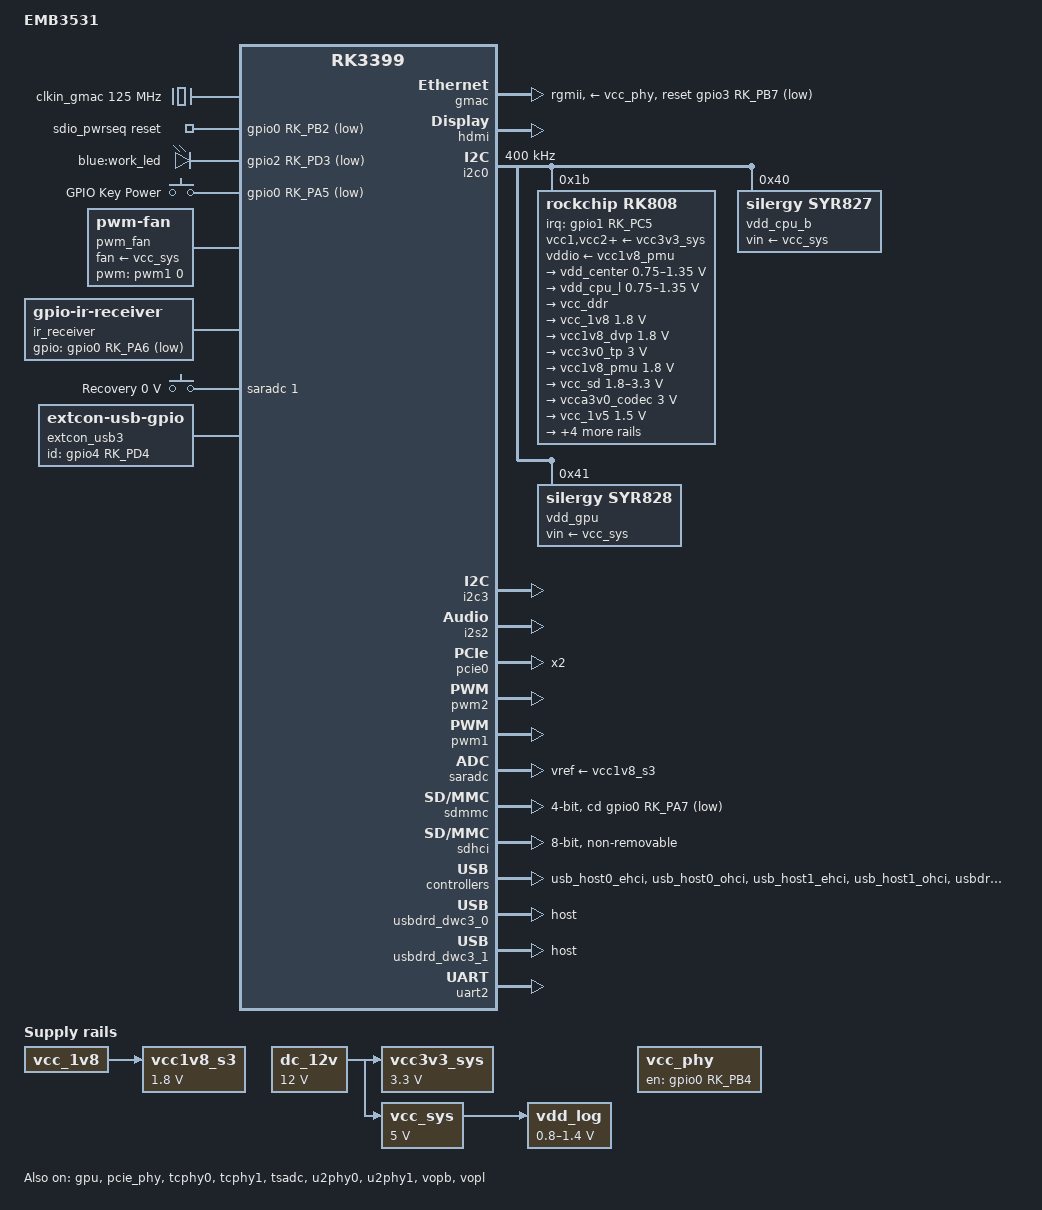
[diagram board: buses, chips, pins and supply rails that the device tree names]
// SPDX-License-Identifier: (GPL-2.0+ OR MIT)

/dts-v1/;
#include <dt-bindings/input/linux-event-codes.h>
#include <dt-bindings/pwm/pwm.h>
#include "rk3399.dtsi"

/ {
	model = "EMB3531";
	compatible = "rockchip,rk3399";

	aliases {
		ethernet0 = &gmac;
		mmc0 = &sdio0;
		mmc1 = &sdmmc;
		mmc2 = &sdhci;
	};

	chosen {
		stdout-path = "serial2:115200n8";
	};

	clkin_gmac: external-gmac-clock {
		compatible = "fixed-clock";
		clock-frequency = <125000000>;
		clock-output-names = "clkin_gmac";
		#clock-cells = <0>;
	};

	dc_12v: regulator-dc-12v {
		compatible = "regulator-fixed";
		regulator-name = "dc_12v";
		regulator-always-on;
		regulator-boot-on;
		regulator-min-microvolt = <12000000>;
		regulator-max-microvolt = <12000000>;
	};

	vcc3v3_sys: regulator-vcc3v3-sys {
		compatible = "regulator-fixed";
		regulator-name = "vcc3v3_sys";
		regulator-always-on;
		regulator-boot-on;
		regulator-min-microvolt = <3300000>;
		regulator-max-microvolt = <3300000>;
		vin-supply = <&dc_12v>;
	};

	vcc_sys: regulator-vcc-sys {
		compatible = "regulator-fixed";
		regulator-name = "vcc_sys";
		regulator-always-on;
		regulator-boot-on;
		regulator-min-microvolt = <5000000>;
		regulator-max-microvolt = <5000000>;
		vin-supply = <&dc_12v>;
	};

	vcc_phy: regulator-vcc-phy {
		compatible = "regulator-fixed";
		enable-active-high;
		gpio = <&gpio0 RK_PB4 GPIO_ACTIVE_HIGH>;
		pinctrl-names = "default";
		pinctrl-0 = <&vcc_phy_h>;
		regulator-name = "vcc_phy";
		regulator-always-on;
		regulator-boot-on;
	};

	vcc1v8_s3: regulator-vcc1v8-s3 {
		compatible = "regulator-fixed";
		regulator-name = "vcc1v8_s3";
		regulator-always-on;
		regulator-boot-on;
		regulator-min-microvolt = <1800000>;
		regulator-max-microvolt = <1800000>;
		vin-supply = <&vcc_1v8>;
	};

	/* PWM regulator for logic voltage */
	vdd_log: regulator-vdd-log {
		compatible = "pwm-regulator";
		pwms = <&pwm2 0 25000 PWM_POLARITY_INVERTED>;
		regulator-name = "vdd_log";
		regulator-always-on;
		regulator-boot-on;
		regulator-min-microvolt = <800000>;
		regulator-max-microvolt = <1400000>;
		vin-supply = <&vcc_sys>;
	};

	sdio_pwrseq: sdio-pwrseq {
		compatible = "mmc-pwrseq-simple";
		clocks = <&rk808 1>;
		clock-names = "ext_clock";
		pinctrl-names = "default";
		pinctrl-0 = <&wifi_reg_on_h>;
		reset-gpios = <&gpio0 RK_PB2 GPIO_ACTIVE_LOW>;
	};

	gpio_leds: gpio-leds {
		compatible = "gpio-leds";
		pinctrl-names = "default";
		pinctrl-0 = <&user_led2_pin>;

		user_led2: led-user {
			label = "blue:work_led";
			gpios = <&gpio2 RK_PD3 GPIO_ACTIVE_LOW>;
			linux,default-trigger = "heartbeat";
		};
	};

	gpio_keys: gpio-keys {
		compatible = "gpio-keys";
		autorepeat;
		pinctrl-names = "default";
		pinctrl-0 = <&power_key_pin>;

		power {
			debounce-interval = <100>;
			gpios = <&gpio0 RK_PA5 GPIO_ACTIVE_LOW>;
			label = "GPIO Key Power";
			linux,code = <KEY_POWER>;
			wakeup-source;
		};
	};

	pwm_fan: pwm-fan {
		compatible = "pwm-fan";
		cooling-levels = <0 150 200 255>;
		#cooling-cells = <2>;
		fan-supply = <&vcc_sys>;
		pwms = <&pwm1 0 40000 0>;
	};

	ir_receiver: ir-receiver {
		compatible = "gpio-ir-receiver";
		gpios = <&gpio0 RK_PA6 GPIO_ACTIVE_LOW>;
		pinctrl-names = "default";
		pinctrl-0 = <&ir_int>;
	};

	adc_keys: adc-keys {
		compatible = "adc-keys";
		io-channels = <&saradc 1>;
		io-channel-names = "buttons";
		keyup-threshold-microvolt = <1750000>;
		poll-interval = <100>;

		recovery {
			label = "Recovery";
			linux,code = <KEY_VENDOR>;
			press-threshold-microvolt = <0>;
		};
	};

	hdmi_sound: hdmi-sound {
		compatible = "simple-audio-card";
		simple-audio-card,format = "i2s";
		simple-audio-card,mclk-fs = <256>;
		simple-audio-card,name = "hdmi-sound";
		status = "okay";

		simple-audio-card,cpu {
			sound-dai = <&i2s2>;
		};

		simple-audio-card,codec {
			sound-dai = <&hdmi>;
		};
	};

	extcon_usb3: extcon-usb3 {
		compatible = "linux,extcon-usb-gpio";
		id-gpio = <&gpio4 RK_PD4 GPIO_ACTIVE_HIGH>;
		pinctrl-names = "default";
		pinctrl-0 = <&usb3_id>;
	};
};

/* GMAC: RGMII with external 125MHz clock input */
&gmac {
	assigned-clocks = <&cru SCLK_RMII_SRC>;
	assigned-clock-parents = <&clkin_gmac>;
	clock_in_out = "input";
	phy-supply = <&vcc_phy>;
	phy-mode = "rgmii";
	pinctrl-names = "default";
	pinctrl-0 = <&rgmii_pins>;
	snps,reset-gpio = <&gpio3 RK_PB7 GPIO_ACTIVE_LOW>;
	snps,reset-active-low;
	snps,reset-delays-us = <0 10000 50000>;
	snps,txpbl = <4>;
	tx_delay = <0x23>;
	rx_delay = <0x23>;
	status = "okay";
};

/* HDMI: DDC via i2c3, CEC pinctrl */
&hdmi {
	ddc-i2c-bus = <&i2c3>;
	pinctrl-names = "default";
	pinctrl-0 = <&hdmi_cec>;
	status = "okay";
};

&hdmi_sound {
	status = "okay";
};

/* i2c0: PMIC RK808, SYR827 (cpu_b), SYR828 (gpu) */
&i2c0 {
	clock-frequency = <400000>;
	i2c-scl-rising-time-ns = <168>;
	i2c-scl-falling-time-ns = <4>;
	status = "okay";

	rk808: pmic@1b {
		compatible = "rockchip,rk808";
		reg = <0x1b>;
		interrupt-parent = <&gpio1>;
		interrupts = <RK_PC5 IRQ_TYPE_LEVEL_LOW>;
		#clock-cells = <1>;
		clock-output-names = "xin32k", "rk808-clkout2";
		pinctrl-names = "default";
		pinctrl-0 = <&pmic_int_l &pmic_dvs2>;
		rockchip,system-power-controller;
		wakeup-source;
		vcc1-supply = <&vcc3v3_sys>;
		vcc2-supply = <&vcc3v3_sys>;
		vcc3-supply = <&vcc3v3_sys>;
		vcc4-supply = <&vcc3v3_sys>;
		vcc6-supply = <&vcc3v3_sys>;
		vcc7-supply = <&vcc3v3_sys>;
		vcc8-supply = <&vcc3v3_sys>;
		vcc9-supply = <&vcc3v3_sys>;
		vcc10-supply = <&vcc3v3_sys>;
		vcc11-supply = <&vcc3v3_sys>;
		vcc12-supply = <&vcc3v3_sys>;
		vddio-supply = <&vcc1v8_pmu>;

		regulators {
			vdd_center: DCDC_REG1 {
				regulator-name = "vdd_center";
				regulator-always-on;
				regulator-boot-on;
				regulator-min-microvolt = <750000>;
				regulator-max-microvolt = <1350000>;
				regulator-ramp-delay = <6001>;
				regulator-state-mem {
					regulator-off-in-suspend;
				};
			};

			vdd_cpu_l: DCDC_REG2 {
				regulator-name = "vdd_cpu_l";
				regulator-always-on;
				regulator-boot-on;
				regulator-min-microvolt = <750000>;
				regulator-max-microvolt = <1350000>;
				regulator-ramp-delay = <6001>;
				regulator-state-mem {
					regulator-off-in-suspend;
				};
			};

			vcc_ddr: DCDC_REG3 {
				regulator-name = "vcc_ddr";
				regulator-always-on;
				regulator-boot-on;
				regulator-state-mem {
					regulator-on-in-suspend;
				};
			};

			vcc_1v8: DCDC_REG4 {
				regulator-name = "vcc_1v8";
				regulator-always-on;
				regulator-boot-on;
				regulator-min-microvolt = <1800000>;
				regulator-max-microvolt = <1800000>;
				regulator-state-mem {
					regulator-on-in-suspend;
					regulator-suspend-microvolt = <1800000>;
				};
			};

			vcc1v8_dvp: LDO_REG1 {
				regulator-name = "vcc1v8_dvp";
				regulator-always-on;
				regulator-boot-on;
				regulator-min-microvolt = <1800000>;
				regulator-max-microvolt = <1800000>;
				regulator-state-mem {
					regulator-off-in-suspend;
				};
			};

			vcc3v0_tp: LDO_REG2 {
				regulator-always-on;
				regulator-boot-on;
				regulator-min-microvolt = <3000000>;
				regulator-max-microvolt = <3000000>;
				regulator-name = "vcc3v0_tp";
				regulator-state-mem {
					regulator-off-in-suspend;
				};
			};

			vcc1v8_pmu: LDO_REG3 {
				regulator-name = "vcc1v8_pmu";
				regulator-always-on;
				regulator-boot-on;
				regulator-min-microvolt = <1800000>;
				regulator-max-microvolt = <1800000>;
				regulator-state-mem {
					regulator-on-in-suspend;
					regulator-suspend-microvolt = <1800000>;
				};
			};

			vcc_sd: LDO_REG4 {
				regulator-name = "vcc_sd";
				regulator-always-on;
				regulator-boot-on;
				regulator-min-microvolt = <1800000>;
				regulator-max-microvolt = <3300000>;
				regulator-state-mem {
					regulator-on-in-suspend;
					regulator-suspend-microvolt = <3300000>;
				};
			};

			vcca3v0_codec: LDO_REG5 {
				regulator-name = "vcca3v0_codec";
				regulator-always-on;
				regulator-boot-on;
				regulator-min-microvolt = <3000000>;
				regulator-max-microvolt = <3000000>;
				regulator-state-mem {
					regulator-off-in-suspend;
				};
			};

			vcc_1v5: LDO_REG6 {
				regulator-name = "vcc_1v5";
				regulator-always-on;
				regulator-boot-on;
				regulator-min-microvolt = <1500000>;
				regulator-max-microvolt = <1500000>;
				regulator-state-mem {
					regulator-on-in-suspend;
					regulator-suspend-microvolt = <1500000>;
				};
			};

			vcca1v8_codec: LDO_REG7 {
				regulator-name = "vcca1v8_codec";
				regulator-always-on;
				regulator-boot-on;
				regulator-min-microvolt = <1800000>;
				regulator-max-microvolt = <1800000>;
				regulator-state-mem {
					regulator-off-in-suspend;
				};
			};

			vcc_3v0: LDO_REG8 {
				regulator-name = "vcc_3v0";
				regulator-always-on;
				regulator-boot-on;
				regulator-min-microvolt = <3000000>;
				regulator-max-microvolt = <3000000>;
				regulator-state-mem {
					regulator-on-in-suspend;
					regulator-suspend-microvolt = <3000000>;
				};
			};

			vcc3v3_s3: SWITCH_REG1 {
				regulator-name = "vcc3v3_s3";
				regulator-always-on;
				regulator-boot-on;
				regulator-state-mem {
					regulator-off-in-suspend;
				};
			};

			vcc3v3_s0: SWITCH_REG2 {
				regulator-name = "vcc3v3_s0";
				regulator-always-on;
				regulator-boot-on;
				regulator-state-mem {
					regulator-off-in-suspend;
				};
			};
		};
	};

	/* CPU-B voltage regulator */
	vdd_cpu_b: regulator@40 {
		compatible = "silergy,syr827";
		reg = <0x40>;
		fcs,suspend-voltage-selector = <1>;
		pinctrl-names = "default";
		pinctrl-0 = <&cpu_b_sleep>;
		regulator-name = "vdd_cpu_b";
		regulator-min-microvolt = <712500>;
		regulator-max-microvolt = <1500000>;
		regulator-ramp-delay = <1000>;
		regulator-always-on;
		regulator-boot-on;
		vin-supply = <&vcc_sys>;
		regulator-state-mem {
			regulator-off-in-suspend;
		};
	};

	/* GPU voltage regulator */
	vdd_gpu: regulator@41 {
		compatible = "silergy,syr828";
		reg = <0x41>;
		fcs,suspend-voltage-selector = <1>;
		pinctrl-names = "default";
		pinctrl-0 = <&gpu_sleep>;
		regulator-name = "vdd_gpu";
		regulator-min-microvolt = <712500>;
		regulator-max-microvolt = <1500000>;
		regulator-ramp-delay = <1000>;
		regulator-always-on;
		regulator-boot-on;
		vin-supply = <&vcc_sys>;
		regulator-state-mem {
			regulator-off-in-suspend;
		};
	};
};

/* i2c3: HDMI DDC */
&i2c3 {
	i2c-scl-rising-time-ns = <450>;
	i2c-scl-falling-time-ns = <15>;
	status = "okay";
};

/* I2S2: HDMI audio */
&i2s2 {
	status = "okay";
};

/* GPU */
&gpu {
	mali-supply = <&vdd_gpu>;
	status = "okay";
};

/* PCIe: 2 lanes, EP reset GPIO4 PD3 */
&pcie0 {
	ep-gpios = <&gpio4 RK_PD3 GPIO_ACTIVE_HIGH>;
	num-lanes = <2>;
	pinctrl-names = "default";
	pinctrl-0 = <&pcie_clkreqn_cpm>;
	status = "okay";
};

&pcie_phy {
	status = "okay";
};

/* PWM2: vdd_log regulator control */
&pwm2 {
	status = "okay";
};

/* PWM1: fan control */
&pwm1 {
	status = "okay";
};

/* SARADC: ADC keys on channel 1 */
&saradc {
	vref-supply = <&vcc1v8_s3>;
	status = "okay";
};

/* SD card (TF card) slot */
&sdmmc {
	bus-width = <4>;
	cap-sd-highspeed;
	cd-gpios = <&gpio0 RK_PA7 GPIO_ACTIVE_LOW>;
	clock-frequency = <150000000>;
	disable-wp;
	sd-uhs-sdr104;
	pinctrl-names = "default";
	pinctrl-0 = <&sdmmc_clk &sdmmc_cmd &sdmmc_cd &sdmmc_bus4>;
	vqmmc-supply = <&vcc_sd>;
	status = "okay";
};

/* eMMC: 8-bit HS400 */
&sdhci {
	bus-width = <8>;
	mmc-hs400-1_8v;
	mmc-hs400-enhanced-strobe;
	keep-power-in-suspend;
	non-removable;
	status = "okay";
};

/* SDIO0: WiFi (BCM4329, disabled by default) */
&sdio0 {
	bus-width = <4>;
	cap-sd-highspeed;
	cap-sdio-irq;
	clock-frequency = <50000000>;
	disable-wp;
	keep-power-in-suspend;
	mmc-pwrseq = <&sdio_pwrseq>;
	non-removable;
	pinctrl-names = "default";
	pinctrl-0 = <&sdio0_bus4 &sdio0_cmd &sdio0_clk>;
	sd-uhs-sdr104;
	#address-cells = <1>;
	#size-cells = <0>;
	status = "disabled";

	wifi@1 {
		reg = <1>;
		compatible = "brcm,bcm4329-fmac";
		interrupt-parent = <&gpio0>;
		interrupts = <RK_PA3 IRQ_TYPE_LEVEL_LOW>;
		interrupt-names = "host-wake";
		pinctrl-names = "default";
		pinctrl-0 = <&wifi_host_wake_l>;
		status = "disabled";
	};
};

/* TypeC PHY 0: DP + USB3 */
&tcphy0 {
	status = "okay";
};

/* TypeC PHY 1: USB3 */
&tcphy1 {
	status = "okay";
};

/* Thermal: hardware shutdown at 95°C, active-high polarity */
&tsadc {
	rockchip,hw-tshut-mode = <1>;
	rockchip,hw-tshut-polarity = <1>;
	status = "okay";
};

/* USB2 PHY 0 */
&u2phy0 {
	status = "okay";

	u2phy0_host: host-port {
		status = "okay";
	};

	u2phy0_otg: otg-port {
		status = "okay";
	};
};

/* USB2 PHY 1 */
&u2phy1 {
	status = "okay";

	u2phy1_host: host-port {
		status = "okay";
	};

	u2phy1_otg: otg-port {
		status = "okay";
	};
};

/* USB2 EHCI/OHCI Host 0 */
&usb_host0_ehci {
	status = "okay";
};

&usb_host0_ohci {
	status = "okay";
};

/* USB2 EHCI/OHCI Host 1 */
&usb_host1_ehci {
	status = "okay";
};

&usb_host1_ohci {
	status = "okay";
};

/* USB3 DWC3 port 0: host mode */
&usbdrd3_0 {
	status = "okay";
};

&usbdrd_dwc3_0 {
	dr_mode = "host";
	status = "okay";
};

/* USB3 DWC3 port 1: host mode */
&usbdrd3_1 {
	status = "okay";
};

&usbdrd_dwc3_1 {
	dr_mode = "host";
	status = "okay";
};

/* VOP Big (vopb) + VOP Lit (vopl): both active for dual display */
&vopb {
	status = "okay";
};

&vopb_mmu {
	status = "okay";
};

&vopl {
	status = "okay";
};

&vopl_mmu {
	status = "okay";
};

/* UART2: debug console, pinctrl uart2c (GPIO4 PC3/PC4) */
&uart2 {
	pinctrl-names = "default";
	pinctrl-0 = <&uart2c_xfer>;
	status = "okay";
};

/* PMU GRF: io-domains and reboot-mode */
&pmugrf {
	io-domains {
		pmu1830-supply = <&vcc1v8_pmu>;
		status = "okay";
	};

	reboot-mode {
		compatible = "syscon-reboot-mode";
		mode-bootloader = <0x5242c301>;
		mode-normal = <0x5242c300>;
		mode-recovery = <0x5242c303>;
		mode-fastboot = <0x5242c309>;
		mode-loader = <0x5242c301>;
		mode-maskrom = <0xef08a53c>;
		mode-charge = <0x5242c30b>;
		mode-ums = <0x5242c30c>;
		offset = <0x300>;
	};
};

/* GRF: io-domains */
&grf {
	io-domains {
		bt656-supply = <&vcc_3v0>;
		audio-supply = <&vcca1v8_codec>;
		sdmmc-supply = <&vcc_sd>;
		gpio1830-supply = <&vcc_3v0>;
		status = "okay";
	};
};

&pinctrl {
	gmac {
		vcc_phy_h: vcc-phy-h {
			rockchip,pins = <0 RK_PB4 RK_FUNC_GPIO &pcfg_pull_up>;
		};
	};

	leds {
		user_led2_pin: user-led2-pin {
			rockchip,pins = <2 RK_PD3 RK_FUNC_GPIO &pcfg_pull_none>;
		};
	};

	buttons {
		power_key_pin: power-key-pin {
			rockchip,pins = <0 RK_PA5 RK_FUNC_GPIO &pcfg_pull_up>;
		};
	};

	ir {
		ir_int: ir-int {
			rockchip,pins = <0 RK_PA6 RK_FUNC_GPIO &pcfg_pull_none>;
		};
	};

	pmic {
		pmic_int_l: pmic-int-l {
			rockchip,pins = <1 RK_PC5 RK_FUNC_GPIO &pcfg_pull_up>;
		};

		pmic_dvs2: pmic-dvs2 {
			rockchip,pins = <1 RK_PC2 RK_FUNC_GPIO &pcfg_pull_down>;
		};

		cpu_b_sleep: cpu-b-sleep {
			rockchip,pins = <1 RK_PC1 RK_FUNC_GPIO &pcfg_pull_down>;
		};

		gpu_sleep: gpu-sleep {
			rockchip,pins = <1 RK_PB6 RK_FUNC_GPIO &pcfg_pull_down>;
		};
	};

	sdio-pwrseq {
		wifi_reg_on_h: wifi-reg-on-h {
			rockchip,pins = <0 RK_PB2 RK_FUNC_GPIO &pcfg_pull_none>;
		};
	};

	wifi {
		wifi_host_wake_l: wifi-host-wake-l {
			rockchip,pins = <0 RK_PA3 RK_FUNC_GPIO &pcfg_pull_none>;
		};
	};

	usb3 {
		usb3_id: usb3-id {
			rockchip,pins = <4 RK_PD4 RK_FUNC_GPIO &pcfg_pull_none>;
		};
	};
};
